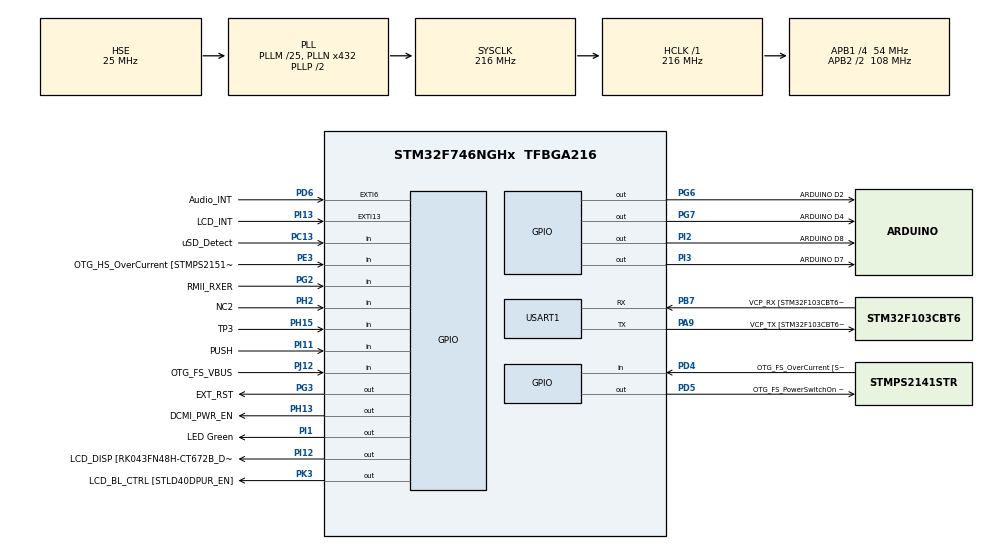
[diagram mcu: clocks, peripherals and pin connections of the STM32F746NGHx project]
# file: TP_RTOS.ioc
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FREERTOS.Tasks01=defaultTask,0,128,StartDefaultTask,Default,NULL,Dynamic,NULL,NULL
FREERTOS.configTOTAL_HEAP_SIZE=30720
Mcu.Family=STM32F7
Mcu.Name=STM32F746NGHx
Mcu.Package=TFBGA216
NVIC.PriorityGroup=NVIC_PRIORITYGROUP_4
NVIC.USART1_IRQn=true\:5\:0\:false\:false\:true\:true\:true\:true\:true
PA0/WKUP.GPIO_Label=ARDUINO A0
PA0/WKUP.GPIO_Mode=GPIO_MODE_ANALOG
PA0/WKUP.GPIO_PuPd=GPIO_NOPULL
PA0/WKUP.Signal=ADCx_IN0
PA1.GPIO_Label=RMII_REF_CLK [LAN8742A-CZ-TR_REFCLK0]
PA1.Signal=ETH_REF_CLK
PA10.GPIO_Label=OTG_FS_ID
PA10.Signal=USB_OTG_FS_ID
PA11.GPIO_Label=OTG_FS_N
PA11.Signal=USB_OTG_FS_DM
PA12.GPIO_Label=OTG_FS_P
PA12.Signal=USB_OTG_FS_DP
PA13.GPIO_Label=SWDIO
PA13.Mode=Serial_Wire
PA13.Signal=SYS_JTMS-SWDIO
PA14.GPIO_Label=SWCLK
PA14.Mode=Serial_Wire
PA14.Signal=SYS_JTCK-SWCLK
PA15.GPIO_Label=ARDUINO PWM/D9
PA15.GPIO_ModeDefaultPP=GPIO_MODE_AF_PP
PA15.GPIO_PuPd=GPIO_NOPULL
PA15.GPIO_Speed=GPIO_SPEED_FREQ_LOW
PA15.Signal=S_TIM2_CH1_ETR
PA2.GPIO_Label=RMII_MDIO [LAN8742A-CZ-TR_MDIO]
PA2.Signal=ETH_MDIO
PA3.GPIO_Label=ULPI_D0 [USB3320C-EZK_D0]
PA3.Signal=USB_OTG_HS_ULPI_D0
PA4.GPIO_Label=DCMI_HSYNC
PA4.Signal=DCMI_HSYNC
PA5.GPIO_Label=ULPI_CLK [USB3320C-EZK_CLKOUT]
PA5.Signal=USB_OTG_HS_ULPI_CK
PA6.Signal=DCMI_PIXCLK
PA7.GPIO_Label=RMII_CRS_DV [LAN8742A-CZ-TR_CRS_DV]
PA7.Signal=ETH_CRS_DV
PA8.GPIO_Label=ARDUINO PWM/D10
PA8.GPIO_ModeDefaultPP=GPIO_MODE_AF_PP
PA8.GPIO_PuPd=GPIO_NOPULL
PA8.GPIO_Speed=GPIO_SPEED_FREQ_LOW
PA8.Signal=S_TIM1_CH1
PA9.GPIO_Label=VCP_TX [STM32F103CBT6_PA3]
PA9.GPIO_Mode=GPIO_MODE_AF_PP
PA9.GPIO_PuPd=GPIO_NOPULL
PA9.GPIO_Speed=GPIO_SPEED_FREQ_LOW
PA9.Mode=Asynchronous
PA9.Signal=USART1_TX
PB0.GPIO_Label=ULPI_D1 [USB3320C-EZK_D1]
PB0.Signal=USB_OTG_HS_ULPI_D1
PB10.GPIO_Label=ULPI_D3 [USB3320C-EZK_D3]
PB10.Signal=USB_OTG_HS_ULPI_D3
PB11.GPIO_Label=ULPI_D4 [USB3320C-EZK_D4]
PB11.Signal=USB_OTG_HS_ULPI_D4
PB12.GPIO_Label=ULPI_D5 [USB3320C-EZK_D5]
PB12.Signal=USB_OTG_HS_ULPI_D5
PB13.GPIO_Label=ULPI_D6 [USB3320C-EZK_D6]
PB13.Signal=USB_OTG_HS_ULPI_D6
PB14.GPIO_Label=ARDUINO MISO/D12
PB14.GPIO_Mode=GPIO_MODE_AF_PP
PB14.GPIO_PuPd=GPIO_NOPULL
PB14.GPIO_Speed=GPIO_SPEED_FREQ_LOW
PB14.Signal=SPI2_MISO
PB15.GPIO_Label=ARDUINO MOSI/PWM/D11
PB15.GPIO_Mode=GPIO_MODE_AF_PP
PB15.GPIO_PuPd=GPIO_NOPULL
PB15.GPIO_Speed=GPIO_SPEED_FREQ_LOW
PB15.Signal=SPI2_MOSI
PB2.Signal=QUADSPI_CLK
PB3.GPIO_Label=SWO
PB3.Signal=SYS_JTDO-SWO
PB4.GPIO_Label=ARDUINO PWM/D3
PB4.GPIO_ModeDefaultPP=GPIO_MODE_AF_PP
PB4.GPIO_PuPd=GPIO_NOPULL
PB4.GPIO_Speed=GPIO_SPEED_FREQ_LOW
PB4.Signal=S_TIM3_CH1
PB5.GPIO_Label=ULPI_D7 [USB3320C-EZK_D7]
PB5.Signal=USB_OTG_HS_ULPI_D7
PB6.GPIO_Label=QSPI_NCS [N25Q128A13EF840E_S]
PB6.Signal=QUADSPI_BK1_NCS
PB7.GPIO_Label=VCP_RX [STM32F103CBT6_PA2]
PB7.GPIO_Mode=GPIO_MODE_AF_PP
PB7.GPIO_PuPd=GPIO_NOPULL
PB7.GPIO_Speed=GPIO_SPEED_FREQ_LOW
PB7.Mode=Asynchronous
PB7.Signal=USART1_RX
PB8.GPIO_Label=ARDUINO SCL/D15
PB8.GPIO_Mode=GPIO_MODE_AF_OD
PB8.GPIO_PuPd=GPIO_NOPULL
PB8.GPIO_Speed=GPIO_SPEED_FREQ_LOW
PB8.Signal=I2C1_SCL
PB9.GPIO_Label=ARDUINO SDA/D14
PB9.GPIO_Mode=GPIO_MODE_AF_OD
PB9.GPIO_PuPd=GPIO_NOPULL
PB9.GPIO_Speed=GPIO_SPEED_FREQ_LOW
PB9.Signal=I2C1_SDA
PC0.GPIO_Label=ULPI_STP [USB3320C-EZK_STP]
PC0.Signal=USB_OTG_HS_ULPI_STP
PC1.GPIO_Label=RMII_MDC [LAN8742A-CZ-TR_MDC]
PC1.Signal=ETH_MDC
PC10.GPIO_Label=SDMMC_D2
PC10.Signal=SDMMC1_D2
PC11.GPIO_Label=SDMMC_D3
PC11.Signal=SDMMC1_D3
PC12.GPIO_Label=SDMMC_CK
PC12.Signal=SDMMC1_CK
PC13.GPIO_Label=uSD_Detect
PC13.Signal=GPIO_Input
PC14/OSC32_IN.GPIO_Label=RCC_OSC32_IN
PC14/OSC32_IN.Signal=RCC_OSC32_IN
PC15/OSC32_OUT.GPIO_Label=RCC_OSC32_OUT
PC15/OSC32_OUT.Signal=RCC_OSC32_OUT
PC2.GPIO_Label=ULPI_DIR [USB3320C-EZK_DIR]
PC2.Signal=USB_OTG_HS_ULPI_DIR
PC3.GPIO_Label=FMC_SDCKE0 [MT48LC4M32B2B5-6A_CKE]
PC3.Signal=FMC_SDCKE0
PC4.GPIO_Label=RMII_RXD0 [LAN8742A-CZ-TR_RXD0]
PC4.Signal=ETH_RXD0
PC5.GPIO_Label=RMII_RXD1 [LAN8742A-CZ-TR_RXD1]
PC5.Signal=ETH_RXD1
PC6.GPIO_Label=ARDUINO TX/D1
PC6.Signal=USART6_TX
PC7.GPIO_Label=ARDUINO RX/D0
PC7.Signal=USART6_RX
PC8.Signal=SDMMC1_D0
PC9.Signal=SDMMC1_D1
PD0.GPIO_Label=FMC_D2 [MT48LC4M32B2B5-6A_DQ2]
PD0.Signal=FMC_D2_DA2
PD1.GPIO_Label=FMC_D3 [MT48LC4M32B2B5-6A_DQ3]
PD1.Signal=FMC_D3_DA3
PD10.GPIO_Label=FMC_D15 [MT48LC4M32B2B5-6A_DQ15]
PD10.Signal=FMC_D15_DA15
PD11.GPIO_Label=QSPI_D0 [N25Q128A13EF840E_DQ0]
PD11.Signal=QUADSPI_BK1_IO0
PD12.GPIO_Label=QSPI_D1 [N25Q128A13EF840E_DQ1]
PD12.Signal=QUADSPI_BK1_IO1
PD13.GPIO_Label=QSPI_D3 [N25Q128A13EF840E_DQ3]
PD13.Signal=QUADSPI_BK1_IO3
PD14.GPIO_Label=FMC_D0 [MT48LC4M32B2B5-6A_DQ0]
PD14.Signal=FMC_D0_DA0
PD15.GPIO_Label=FMC_D1 [MT48LC4M32B2B5-6A_DQ1]
PD15.Signal=FMC_D1_DA1
PD2.GPIO_Label=SDMMC_D0
PD2.Signal=SDMMC1_CMD
PD3.GPIO_Label=DCMI_D5
PD3.Signal=DCMI_D5
PD4.GPIO_Label=OTG_FS_OverCurrent [STMPS2141STR_Fault]
PD4.Signal=GPIO_Input
PD5.GPIO_Label=OTG_FS_PowerSwitchOn [STMPS2141STR_EN]
PD5.PinState=GPIO_PIN_SET
PD5.Signal=GPIO_Output
PD6.GPIO_Label=Audio_INT
PD6.GPIO_ModeDefaultEXTI=GPIO_MODE_EVT_RISING
PD6.Signal=GPXTI6
PD7.GPIO_Label=SPDIF_RX0 [74LVC1G04SE_4]
PD7.Signal=SPDIFRX_IN0
PD8.GPIO_Label=FMC_D13 [MT48LC4M32B2B5-6A_DQ13]
PD8.Signal=FMC_D13_DA13
PD9.GPIO_Label=FMC_D14 [MT48LC4M32B2B5-6A_DQ14]
PD9.Signal=FMC_D14_DA14
PE0.GPIO_Label=FMC_NBL0 [MT48LC4M32B2B5-6A_DQM0]
PE0.Signal=FMC_NBL0
PE1.GPIO_Label=FMC_NBL1 [MT48LC4M32B2B5-6A_DQM1]
PE1.Signal=FMC_NBL1
PE10.GPIO_Label=FMC_D7 [MT48LC4M32B2B5-6A_DQ7]
PE10.Signal=FMC_D7_DA7
PE11.GPIO_Label=FMC_D8 [MT48LC4M32B2B5-6A_DQ8]
PE11.Signal=FMC_D8_DA8
PE12.GPIO_Label=FMC_D9 [MT48LC4M32B2B5-6A_DQ9]
PE12.Signal=FMC_D9_DA9
PE13.GPIO_Label=FMC_D10 [MT48LC4M32B2B5-6A_DQ10]
PE13.Signal=FMC_D10_DA10
PE14.GPIO_Label=FMC_D11 [MT48LC4M32B2B5-6A_DQ11]
PE14.Signal=FMC_D11_DA11
PE15.GPIO_Label=FMC_D12 [MT48LC4M32B2B5-6A_DQ12]
PE15.Signal=FMC_D12_DA12
PE2.GPIO_Label=QSPI_D2 [N25Q128A13EF840E_DQ2]
PE2.Signal=QUADSPI_BK1_IO2
PE3.GPIO_Label=OTG_HS_OverCurrent [STMPS2151STR_FAULT]
PE3.Signal=GPIO_Input
PE4.GPIO_Label=LCD_B0 [RK043FN48H-CT672B_B0]
PE4.Signal=LTDC_B0
PE5.GPIO_Label=DCMI_D6
PE5.Signal=DCMI_D6
PE6.GPIO_Label=DCMI_D7
PE6.Signal=DCMI_D7
PE7.GPIO_Label=FMC_D4 [MT48LC4M32B2B5-6A_DQ4]
PE7.Signal=FMC_D4_DA4
PE8.GPIO_Label=FMC_D5 [MT48LC4M32B2B5-6A_DQ5]
PE8.Signal=FMC_D5_DA5
PE9.GPIO_Label=FMC_D6 [MT48LC4M32B2B5-6A_DQ6]
PE9.Signal=FMC_D6_DA6
PF0.GPIO_Label=FMC_A0 [MT48LC4M32B2B5-6A_A0]
PF0.Signal=FMC_A0
PF1.GPIO_Label=FMC_A1 [MT48LC4M32B2B5-6A_A1]
PF1.Signal=FMC_A1
PF10.GPIO_Label=ARDUINO A1
PF10.GPIO_Mode=GPIO_MODE_ANALOG
PF10.GPIO_PuPd=GPIO_NOPULL
PF10.Signal=ADC3_IN8
PF11.GPIO_Label=FMC_SDNRAS [MT48LC4M32B2B5-6A_RAS]
PF11.Signal=FMC_SDNRAS
PF12.GPIO_Label=FMC_A6 [MT48LC4M32B2B5-6A_A6]
PF12.Signal=FMC_A6
PF13.GPIO_Label=FMC_A7 [MT48LC4M32B2B5-6A_A7]
PF13.Signal=FMC_A7
PF14.GPIO_Label=FMC_A8 [MT48LC4M32B2B5-6A_A8]
PF14.Signal=FMC_A8
PF15.GPIO_Label=FMC_A9 [MT48LC4M32B2B5-6A_A9]
PF15.Signal=FMC_A9
PF2.GPIO_Label=FMC_A2 [MT48LC4M32B2B5-6A_A2]
PF2.Signal=FMC_A2
PF3.GPIO_Label=FMC_A3 [MT48LC4M32B2B5-6A_A3]
PF3.Signal=FMC_A3
PF4.GPIO_Label=FMC_A4 [MT48LC4M32B2B5-6A_A4]
PF4.Signal=FMC_A4
PF5.GPIO_Label=FMC_A5 [MT48LC4M32B2B5-6A_A5]
PF5.Signal=FMC_A5
PF6.GPIO_Label=ARDUINO A5
PF6.GPIO_Mode=GPIO_MODE_ANALOG
PF6.GPIO_PuPd=GPIO_NOPULL
PF6.Signal=ADC3_IN4
PF7.GPIO_Label=ARDUINO A4
PF7.GPIO_Mode=GPIO_MODE_ANALOG
PF7.GPIO_PuPd=GPIO_NOPULL
PF7.Signal=ADC3_IN5
PF8.GPIO_Label=ARDUINO A3
PF8.GPIO_Mode=GPIO_MODE_ANALOG
PF8.GPIO_PuPd=GPIO_NOPULL
PF8.Signal=ADC3_IN6
PF9.GPIO_Label=ARDUINO A2
PF9.GPIO_Mode=GPIO_MODE_ANALOG
PF9.GPIO_PuPd=GPIO_NOPULL
PF9.Signal=ADC3_IN7
PG0.GPIO_Label=FMC_A10 [MT48LC4M32B2B5-6A_A10]
PG0.Signal=FMC_A10
PG1.GPIO_Label=FMC_A11 [MT48LC4M32B2B5-6A_A11]
PG1.Signal=FMC_A11
PG10.GPIO_Label=SAI2_SDB [WM8994ECS/R_ADCDAT1]
PG10.Signal=SAI2_SD_B
PG11.GPIO_Label=RMII_TX_EN [LAN8742A-CZ-TR_TXEN]
PG11.Signal=ETH_TX_EN
PG12.GPIO_Label=LCD_B4 [RK043FN48H-CT672B_B4]
PG12.Signal=LTDC_B4
PG13.GPIO_Label=RMII_TXD0 [LAN8742A-CZ-TR_TXD0]
PG13.Signal=ETH_TXD0
PG14.GPIO_Label=RMII_TXD1 [LAN8742A-CZ-TR_TXD1]
PG14.Signal=ETH_TXD1
PG15.GPIO_Label=FMC_SDNCAS [MT48LC4M32B2B5-6A_CAS]
PG15.Signal=FMC_SDNCAS
PG2.GPIO_Label=RMII_RXER
PG2.Signal=GPIO_Input
PG3.GPIO_Label=EXT_RST
PG3.Signal=GPIO_Output
PG4.GPIO_Label=FMC_BA0 [MT48LC4M32B2B5-6A_BA0]
PG4.Signal=FMC_A14_BA0
PG5.GPIO_Label=FMC_BA1 [MT48LC4M32B2B5-6A_BA1]
PG5.Signal=FMC_A15_BA1
PG6.GPIO_Label=ARDUINO D2
PG6.Signal=GPIO_Output
PG7.GPIO_Label=ARDUINO D4
PG7.Signal=GPIO_Output
PG8.GPIO_Label=FMC_SDCLK [MT48LC4M32B2B5-6A_CLK]
PG8.Signal=FMC_SDCLK
PG9.GPIO_Label=DCMI_VSYNC
PG9.Signal=DCMI_VSYNC
PH0/OSC_IN.GPIO_Label=OSC_25M [NZ2520SB-25.00M_OUT]
PH0/OSC_IN.Mode=HSE-External-Oscillator
PH0/OSC_IN.Signal=RCC_OSC_IN
PH1/OSC_OUT.Mode=HSE-External-Oscillator
PH1/OSC_OUT.Signal=RCC_OSC_OUT
PH10.GPIO_Label=DCMI_D1
PH10.Signal=DCMI_D1
PH11.GPIO_Label=DCMI_D2
PH11.Signal=DCMI_D2
PH12.GPIO_Label=DCMI_D3
PH12.Signal=DCMI_D3
PH13.GPIO_Label=DCMI_PWR_EN
PH13.Signal=GPIO_Output
PH14.GPIO_Label=DCMI_D4
PH14.Signal=DCMI_D4
PH15.GPIO_Label=TP3
PH15.Signal=GPIO_Input
PH2.GPIO_Label=NC2
PH2.Signal=GPIO_Input
PH3.GPIO_Label=FMC_SDNE0 [MT48LC4M32B2B5-6A_CS]
PH3.Signal=FMC_SDNE0
PH4.GPIO_Label=ULPI_NXT [USB3320C-EZK_NXT]
PH4.Signal=USB_OTG_HS_ULPI_NXT
PH5.GPIO_Label=FMC_SDNME [MT48LC4M32B2B5-6A_WE]
PH5.Signal=FMC_SDNWE
PH6.GPIO_Label=ARDUINO PWM/D6
PH6.Signal=S_TIM12_CH1
PH7.GPIO_Label=LCD_SCL [RK043FN48H-CT672B_SCL]
PH7.Signal=I2C3_SCL
PH8.GPIO_Label=LCD_SDA [RK043FN48H-CT672B_SDA]
PH8.Signal=I2C3_SDA
PH9.GPIO_Label=DCMI_D0
PH9.Signal=DCMI_D0
PI0.GPIO_Label=ARDUINO PWM/CS/D5
PI0.GPIO_ModeDefaultPP=GPIO_MODE_AF_PP
PI0.GPIO_PuPd=GPIO_NOPULL
PI0.GPIO_Speed=GPIO_SPEED_FREQ_LOW
PI0.Signal=S_TIM5_CH4
PI1.GPIO_Label=LED Green
PI1.Signal=GPIO_Output
PI10.GPIO_Label=LCD_HSYNC [RK043FN48H-CT672B_HSYNC]
PI10.Signal=LTDC_HSYNC
PI11.GPIO_Label=PUSH
PI11.Signal=GPIO_Input
PI12.GPIO_Label=LCD_DISP [RK043FN48H-CT672B_DISP] 
PI12.Signal=GPIO_Output
PI13.GPIO_Label=LCD_INT
PI13.GPIO_ModeDefaultEXTI=GPIO_MODE_EVT_RISING
PI13.Signal=GPXTI13
PI14.GPIO_Label=LCD_CLK [RK043FN48H-CT672B_CLK]
PI14.Signal=LTDC_CLK
PI15.GPIO_Label=LCD_R0 [RK043FN48H-CT672B_R0]
PI15.Signal=LTDC_R0
PI2.GPIO_Label=ARDUINO D8
PI2.Signal=GPIO_Output
PI3.GPIO_Label=ARDUINO D7
PI3.Signal=GPIO_Output
PI4.GPIO_Label=SAI2_MCLKA [WM8994ECS/R_MCLK1]
PI4.Signal=SAI2_MCLK_A
PI5.GPIO_Label=SAI2_SCKA [WM8994ECS/R_BCLK1]
PI5.Signal=SAI2_SCK_A
PI6.GPIO_Label=SAI2_SDA [WM8994ECS/R_DACDAT1]
PI6.Signal=SAI2_SD_A
PI7.GPIO_Label=SAI2_FSA [WM8994ECS/R_LRCLK1]
PI7.Signal=SAI2_FS_A
PI8.GPIO_Label=NC1 [TP2]
PI8.Signal=RTC_TS
PI9.GPIO_Label=LCD_VSYNC [RK043FN48H-CT672B_VSYNC]
PI9.Signal=LTDC_VSYNC
PJ0.GPIO_Label=LCD_R1 [RK043FN48H-CT672B_R1]
PJ0.Signal=LTDC_R1
PJ1.GPIO_Label=LCD_R2 [RK043FN48H-CT672B_R2]
PJ1.Signal=LTDC_R2
PJ10.GPIO_Label=LCD_G3 [RK043FN48H-CT672B_G3]
PJ10.Signal=LTDC_G3
PJ11.GPIO_Label=LCD_G4 [RK043FN48H-CT672B_G4]
PJ11.Signal=LTDC_G4
PJ12.GPIO_Label=OTG_FS_VBUS
PJ12.Signal=GPIO_Input
PJ13.GPIO_Label=LCD_B1 [RK043FN48H-CT672B_B1]
PJ13.Signal=LTDC_B1
PJ14.GPIO_Label=LCD_B2 [RK043FN48H-CT672B_B2]
PJ14.Signal=LTDC_B2
PJ15.GPIO_Label=LCD_B3 [RK043FN48H-CT672B_B3]
PJ15.Signal=LTDC_B3
PJ2.GPIO_Label=LCD_R3 [RK043FN48H-CT672B_R3]
PJ2.Signal=LTDC_R3
PJ3.GPIO_Label=LCD_R4 [RK043FN48H-CT672B_R4]
PJ3.Signal=LTDC_R4
PJ4.GPIO_Label=LCD_R5 [RK043FN48H-CT672B_R5]
PJ4.Signal=LTDC_R5
PJ5.GPIO_Label=LCD_R6 [RK043FN48H-CT672B_R6]
PJ5.Signal=LTDC_R6
PJ6.GPIO_Label=LCD_R7 [RK043FN48H-CT672B_R7]
PJ6.Signal=LTDC_R7
PJ7.GPIO_Label=LCD_G0 [RK043FN48H-CT672B_G0]
PJ7.Signal=LTDC_G0
PJ8.GPIO_Label=LCD_G1 [RK043FN48H-CT672B_G1]
PJ8.Signal=LTDC_G1
PJ9.GPIO_Label=LCD_G2 [RK043FN48H-CT672B_G2]
PJ9.Signal=LTDC_G2
PK0.GPIO_Label=LCD_G5 [RK043FN48H-CT672B_G5]
PK0.Signal=LTDC_G5
PK1.GPIO_Label=LCD_G6 [RK043FN48H-CT672B_G6]
PK1.Signal=LTDC_G6
PK2.GPIO_Label=LCD_G7 [RK043FN48H-CT672B_G7]
PK2.Signal=LTDC_G7
PK3.GPIO_Label=LCD_BL_CTRL [STLD40DPUR_EN]
PK3.Signal=GPIO_Output
PK4.GPIO_Label=LCD_B5 [RK043FN48H-CT672B_B5]
PK4.Signal=LTDC_B5
PK5.GPIO_Label=LCD_B6 [RK043FN48H-CT672B_B6]
PK5.Signal=LTDC_B6
PK6.GPIO_Label=LCD_B7 [RK043FN48H-CT672B_B7]
PK6.Signal=LTDC_B7
PK7.GPIO_Label=LCD_DE [RK043FN48H-CT672B_DE]
PK7.Signal=LTDC_DE
ProjectManager.HeapSize=0x200
ProjectManager.StackSize=0x400
ProjectManager.TargetToolchain=STM32CubeIDE
RCC.AHBFreq_Value=216000000
RCC.APB1CLKDivider=RCC_HCLK_DIV4
RCC.APB1Freq_Value=54000000
RCC.APB1TimFreq_Value=108000000
RCC.APB2CLKDivider=RCC_HCLK_DIV2
RCC.APB2Freq_Value=108000000
RCC.APB2TimFreq_Value=216000000
RCC.CortexFreq_Value=216000000
RCC.HCLKFreq_Value=216000000
RCC.HSE_VALUE=25000000
RCC.HSI_VALUE=16000000
RCC.LSE_VALUE=32768
RCC.PLLM=25
RCC.PLLN=432
RCC.PLLSourceVirtual=RCC_PLLSOURCE_HSE
RCC.SYSCLKFreq_VALUE=216000000
RCC.SYSCLKSource=RCC_SYSCLKSOURCE_PLLCLK
RCC.USBFreq_Value=216000000
RCC.VCOOutputFreq_Value=432000000
SH.ADCx_IN0.0=ADC3_IN0
SH.FMC_A0.0=FMC_A0
SH.FMC_A1.0=FMC_A1
SH.FMC_A10.0=FMC_A10
SH.FMC_A11.0=FMC_A11
SH.FMC_A14_BA0.0=FMC_BA0
SH.FMC_A15_BA1.0=FMC_BA1
SH.FMC_A2.0=FMC_A2
SH.FMC_A3.0=FMC_A3
SH.FMC_A4.0=FMC_A4
SH.FMC_A5.0=FMC_A5
SH.FMC_A6.0=FMC_A6
SH.FMC_A7.0=FMC_A7
SH.FMC_A8.0=FMC_A8
SH.FMC_A9.0=FMC_A9
SH.FMC_D0_DA0.0=FMC_D0
SH.FMC_D10_DA10.0=FMC_D10
SH.FMC_D11_DA11.0=FMC_D11
SH.FMC_D12_DA12.0=FMC_D12
SH.FMC_D13_DA13.0=FMC_D13
SH.FMC_D14_DA14.0=FMC_D14
SH.FMC_D15_DA15.0=FMC_D15
SH.FMC_D1_DA1.0=FMC_D1
SH.FMC_D2_DA2.0=FMC_D2
SH.FMC_D3_DA3.0=FMC_D3
SH.FMC_D4_DA4.0=FMC_D4
SH.FMC_D5_DA5.0=FMC_D5
SH.FMC_D6_DA6.0=FMC_D6
SH.FMC_D7_DA7.0=FMC_D7
SH.FMC_D8_DA8.0=FMC_D8
SH.FMC_D9_DA9.0=FMC_D9
SH.FMC_NBL0.0=FMC_NBL0
SH.FMC_NBL1.0=FMC_NBL1
SH.FMC_SDCLK.0=FMC_SDCLK
SH.FMC_SDNCAS.0=FMC_SDNCAS
SH.FMC_SDNRAS.0=FMC_SDNRAS
SH.FMC_SDNWE.0=FMC_SDNWE
SH.S_TIM12_CH1.0=TIM12_CH1
SH.S_TIM1_CH1.0=TIM1_CH1
SH.S_TIM2_CH1_ETR.0=TIM2_CH1
SH.S_TIM3_CH1.0=TIM3_CH1
SH.S_TIM5_CH4.0=TIM5_CH4
USART1.VirtualMode-Asynchronous=VM_ASYNC
VP_FREERTOS_VS_CMSIS_V1.Mode=CMSIS_V1
board=STM32F746G-DISCO

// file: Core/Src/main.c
/* USER CODE BEGIN Header */
/**
 ******************************************************************************
 * @file           : main.c
 * @brief          : Main program body
 ******************************************************************************
 * @attention
 *
 * Copyright (c) 2022 STMicroelectronics.
 * All rights reserved.
 *
 * This software is licensed under terms that can be found in the LICENSE file
 * in the root directory of this software component.
 * If no LICENSE file comes with this software, it is provided AS-IS.
 *
 ******************************************************************************
 */
/* USER CODE END Header */
#include "main.h"
#include "cmsis_os.h"
#include "usart.h"
#include "gpio.h"

/* USER CODE BEGIN Includes */
#include <stdio.h>
#include "shell.h"
/* USER CODE END Includes */

/* USER CODE BEGIN PV */
int delaiL = 0;
int delaiS = 0;
int activateL = 0;
int activateS = 0;

//****************************************//

//****************************************//

/*
//Q1.1
TaskHandle_t xHandle1 = NULL;
*/

//****************************************//

/*
//Q1.2
TaskHandle_t xHandle1 = NULL;
TaskHandle_t xHandle2 = NULL;
SemaphoreHandle_t sem1;
*/

//****************************************//

/*
//Q1.3
TaskHandle_t xHandle1 = NULL;
TaskHandle_t xHandle2 = NULL;
*/

//****************************************//

//Q1.4
QueueHandle_t xQueue1;
TaskHandle_t xHandle1 = NULL;
TaskHandle_t xHandle2 = NULL;
TaskHandle_t xHandle3 = NULL;
TaskHandle_t xHandle4 = NULL;

//****************************************//

//****************************************//

/* USER CODE END PV */

void SystemClock_Config(void);
void MX_FREERTOS_Init(void);

/* USER CODE BEGIN 0 */
int __io_putchar(int ch) {
	HAL_UART_Transmit(&huart1, (uint8_t *)&ch, 1, HAL_MAX_DELAY);
	return ch;
}

int fonction(int argc, char ** argv)
{
	for (int i = 0; i < argc; ++i) {
		printf("argument %d = %s \r\n",i,argv[i]);
	}

	return 0;
}

//****************************************//

//****************************************//

/*
//Q1.1
void Blink(void * unused)
{
	for(;;)
	{
		HAL_GPIO_TogglePin(LED_Green_GPIO_Port, LED_Green_Pin);
		printf("hello\r\n");
		vTaskDelay(100);
	}
}
*/

//****************************************//

/*
//Q1.2
void taskGive(void * unused)
{
	int DelayIncr = 1;
	for(;;)
	{
		xSemaphoreGive(sem1);
		printf("Va donner\r\n");
		vTaskDelay(100 * DelayIncr);
		printf("Donnee\r\n");
		DelayIncr++;
	}
}

void taskTake(void * unused)
{
	for(;;)
	{
		printf("Va prendre\r\n");
		if(xSemaphoreTake(sem1, 1000) == pdFALSE)
		{
			printf("ERROR\r\n");
			NVIC_SystemReset();
		}
		printf("a pris\r\n");
		vTaskDelay(100);
	}
}
*/

//****************************************//

/*
//Q1.3
void taskGive(void * unused)
{
	int DelayIncr = 1;
	for(;;)
	{
		printf("Va donner\r\n");
		xTaskNotifyGive(xHandle1);
		vTaskDelay(100 * DelayIncr);
		printf("Donnee\r\n");
		DelayIncr++;
	}
}

void taskTake(void * unused)
{
	for(;;)
	{
		printf("Va prendre\r\n");
		if(ulTaskNotifyTake(pdTRUE, 1000) == pdFALSE)
		{
			printf("ERROR\r\n");
			NVIC_SystemReset();
		}
		vTaskDelay(100);
		printf("a pris\r\n");
	}
}
*/

//****************************************//

//Q1.4
void taskGive(void * unused)
{
	uint8_t Pass = 1;
	for(;;)
	{
		printf("Va donner\r\n");
		xQueueSend(xQueue1, (void*) &Pass, 1000);
		printf("Donnee\r\n");
		vTaskDelay(100 * Pass);
		Pass++;
	}
}

void taskTake(void * unused)
{
	uint8_t RxBuffer = 0;
	for(;;)
	{
		printf("Va prendre\r\n");
		if(xQueueReceive(xQueue1, &RxBuffer, 1000) == pdFALSE)
		{
			printf("ERROR\r\n");
			NVIC_SystemReset();
		}
		printf("a pris\r\n");
		printf("%d\r\n", RxBuffer);
	}
}

void gereLed(void * unused)
{
	while(1)
	{
		if(activateL == 1){
			if(delaiL > 0){
				HAL_GPIO_TogglePin(LED_Green_GPIO_Port, LED_Green_Pin);
				vTaskDelay(delaiL);
			}
			else {
				activateL = 0;
				HAL_GPIO_WritePin(LED_Green_GPIO_Port, LED_Green_Pin, 0);
			}
		}
	}
}

void spam(void * unused)
{
	while(1)
	{
		if(activateS == 1){
			if(delaiS > 0){
				HAL_UART_Transmit(&huart1, "Q\r\n", 1, HAL_MAX_DELAY);
				vTaskDelay(delaiS);
			}
			else {
				activateS = 0;
			}
		}
	}
}

void crash(void * unused)
{
	while(1)
	{
	  	if (xTaskCreate(crash, "crash", 1000, NULL, 1, &xHandle1) != pdPASS)
		{
			printf("ERROR\r\n");
			Error_Handler();
		}
		printf("Plot \r\n");
	  	vTaskDelay(100);
	}
}

void shell(void * unused)
{
	shell_run();
}

int led(int argc, char ** argv)
{
	activateL = 1;
	delaiL = atoi(argv[1]);
	return 0;
}

int spamchar(int argc, char ** argv)
{
	activateS = 1;
	delaiS = atoi(argv[1]);
	return 0;
}

int crashshell(int argc, char ** argv)
{
  	if (xTaskCreate(crash, "crash", 1000, NULL, 1, &xHandle1) != pdPASS)
	{
		printf("ERROR\r\n");
		Error_Handler();
	}
  	printf("Plot \r\n");
}

/*
void taskBidon(void * unused)
{
	for(;;)
	{
		vTaskDelay(1000);
	}
}

void taskGive(void * unused)
{
	uint8_t Pass = 1;
	for(;;)
	{
		//xTaskCreate(taskBidon, "taskBidon", 1000, NULL, 1, &xHandle2);
		printf("Va donner\r\n");
		xSemaphoreGive(sem1);
		xQueueSend(xQueue1, (void*) &Pass, 1000);
		printf("Donnee\r\n");
		vTaskDelay(10);
		//Pass++;
	}
}
}*/

//****************************************//

//****************************************//

/* USER CODE END 0 */

int main(void)
{

  /* MCU Configuration--------------------------------------------------------*/

  /* Reset of all peripherals, Initializes the Flash interface and the Systick. */
  HAL_Init();

  /* Configure the system clock */
  SystemClock_Config();

  /* Initialize all configured peripherals */
  MX_GPIO_Init();
  MX_USART1_UART_Init();
  /* USER CODE BEGIN 2 */

//****************************************//

//****************************************//

  /*
  //Q1.1
  BaseType_t xReturned;
  xReturned = xTaskCreate(Blink, "Blink", 1000, NULL, 1, &xHandle1);
  */

//****************************************//

  /*
  //Q1.2
  sem1 = xSemaphoreCreateBinary();
  xTaskCreate(taskGive, "taskGive", 1000, NULL, 2, &xHandle1);
  xTaskCreate(taskTake, "taskTake", 1000, NULL, 1, &xHandle2);
  */

//****************************************//

  /*
  //Q1.3
  xTaskCreate(taskGive, "taskGive", 1000, NULL, 2, &xHandle1);
  xTaskCreate(taskTake, "taskTake", 1000, NULL, 1, &xHandle1);
  */

//****************************************//

  /*
  //Q1.4
  xQueue1 = xQueueCreate(1, sizeof(uint8_t));
  xTaskCreate(taskGive, "taskGive", 1000, NULL, 2, &xHandle1);
  xTaskCreate(taskTake, "taskTake", 1000, NULL, 1, &xHandle1);
  */

//****************************************//

//****************************************//

	shell_init();
	shell_add('f', fonction, "Une fonction inutile");
	shell_add('l', led, "j'allume le led");
	shell_add('s', spamchar, "je spam de fou");
	shell_add('c', crashshell, "J'explose ton PC");
	xTaskCreate(shell, "shell", 1000, NULL, 2, &xHandle2);
  	xTaskCreate(gereLed, "gereled", 1000, NULL, 1, &xHandle3);
  	xTaskCreate(spam, "spam", 1000, NULL, 1, &xHandle4);

	//configASSERT(pdTRUE==xReturned);

	vTaskStartScheduler();

  /* USER CODE END 2 */

  /* Call init function for freertos objects (in freertos.c) */
  MX_FREERTOS_Init();

  /* Start scheduler */
  osKernelStart();

  /* We should never get here as control is now taken by the scheduler */
  /* Infinite loop */
	while (1)
	{

	}
}

void SystemClock_Config(void)
{
  RCC_OscInitTypeDef RCC_OscInitStruct = {0};
  RCC_ClkInitTypeDef RCC_ClkInitStruct = {0};

  /** Configure the main internal regulator output voltage
  */
  __HAL_RCC_PWR_CLK_ENABLE();
  __HAL_PWR_VOLTAGESCALING_CONFIG(PWR_REGULATOR_VOLTAGE_SCALE1);

  /** Initializes the RCC Oscillators according to the specified parameters
  * in the RCC_OscInitTypeDef structure.
  */
  RCC_OscInitStruct.OscillatorType = RCC_OSCILLATORTYPE_HSE;
  RCC_OscInitStruct.HSEState = RCC_HSE_ON;
  RCC_OscInitStruct.PLL.PLLState = RCC_PLL_ON;
  RCC_OscInitStruct.PLL.PLLSource = RCC_PLLSOURCE_HSE;
  RCC_OscInitStruct.PLL.PLLM = 25;
  RCC_OscInitStruct.PLL.PLLN = 432;
  RCC_OscInitStruct.PLL.PLLP = RCC_PLLP_DIV2;
  RCC_OscInitStruct.PLL.PLLQ = 2;
  if (HAL_RCC_OscConfig(&RCC_OscInitStruct) != HAL_OK)
  {
    Error_Handler();
  }

  /** Activate the Over-Drive mode
  */
  if (HAL_PWREx_EnableOverDrive() != HAL_OK)
  {
    Error_Handler();
  }

  /** Initializes the CPU, AHB and APB buses clocks
  */
  RCC_ClkInitStruct.ClockType = RCC_CLOCKTYPE_HCLK|RCC_CLOCKTYPE_SYSCLK
                              |RCC_CLOCKTYPE_PCLK1|RCC_CLOCKTYPE_PCLK2;
  RCC_ClkInitStruct.SYSCLKSource = RCC_SYSCLKSOURCE_PLLCLK;
  RCC_ClkInitStruct.AHBCLKDivider = RCC_SYSCLK_DIV1;
  RCC_ClkInitStruct.APB1CLKDivider = RCC_HCLK_DIV4;
  RCC_ClkInitStruct.APB2CLKDivider = RCC_HCLK_DIV2;

  if (HAL_RCC_ClockConfig(&RCC_ClkInitStruct, FLASH_LATENCY_7) != HAL_OK)
  {
    Error_Handler();
  }
}

void Error_Handler(void)
{
	__disable_irq();
	while (1)
	{
	}
}
